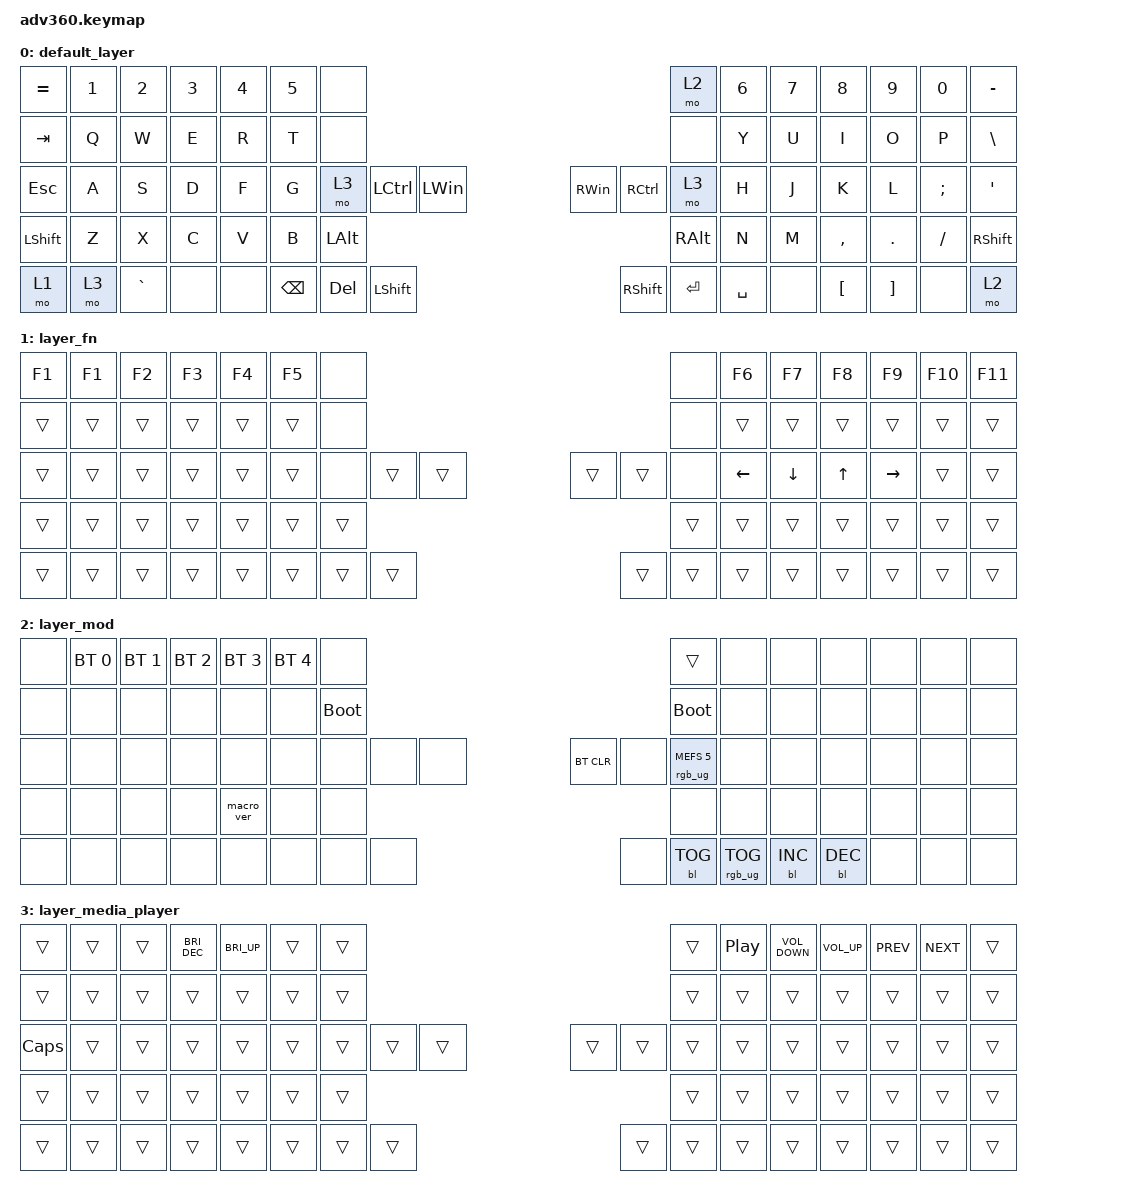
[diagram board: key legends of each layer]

/*
 * Copyright (c) 2020 The ZMK Contributors
 *
 * SPDX-License-Identifier: MIT
 */


/* THIS FILE WAS GENERATED!
 *
 * This file was generated automatically. You may or may not want to
 * edit it directly.
 */

#include <behaviors.dtsi>
#include <dt-bindings/zmk/keys.h>
#include <dt-bindings/zmk/bt.h>
#include <dt-bindings/zmk/rgb.h>
#include <dt-bindings/zmk/backlight.h>

/ {
  behaviors {
    #include "macros.dtsi"
    #include "version.dtsi"

    hm: homerow_mods {
        compatible = "zmk,behavior-hold-tap";
        label = "HOMEROW_MODS";
        #binding-cells = <2>;
        tapping-term-ms = <200>;
        quick_tap_ms = <175>;
        flavor = "tap-preferred";
        bindings = <&kp>, <&kp>;
    };
  };

    keymap {
        compatible = "zmk,keymap";


        default_layer {
            bindings = <
 &kp EQUAL  &kp N1     &kp N2  &kp N3  &kp N4  &kp N5               &none                                                                                    &mo 2  &kp N6  &kp N7            &kp N8    &kp N9    &kp N0  &kp MINUS
   &kp TAB   &kp Q      &kp W   &kp E   &kp R   &kp T               &none                                                                                    &none   &kp Y   &kp U             &kp I     &kp O     &kp P   &kp BSLH
   &kp ESC   &kp A      &kp S   &kp D   &kp F   &kp G               &mo 3  &kp LEFT_CONTROL    &kp LEFT_WIN                    &kp RIGHT_WIN  &kp RCTRL      &mo 3   &kp H   &kp J             &kp K     &kp L  &kp SEMI    &kp SQT
 &kp LSHFT   &kp Z      &kp X   &kp C   &kp V   &kp B                                          &kp LEFT_ALT                    &kp RIGHT_ALT                         &kp N   &kp M         &kp COMMA   &kp DOT  &kp FSLH  &kp RSHFT
     &mo 1   &mo 3  &kp GRAVE   &none   &none                    &kp BSPC           &kp DEL  &kp LEFT_SHIFT                  &kp RIGHT_SHIFT  &kp ENTER  &kp SPACE           &none  &kp LEFT_BRACKET  &kp RBKT     &none      &mo 2
            >;
        };

        layer_fn {
            bindings = <
 &kp F1  &kp F1  &kp F2  &kp F3  &kp F4  &kp F5             &none                                                   &none          &kp F6    &kp F7        &kp F8           &kp F9  &kp F10  &kp F11
 &trans  &trans  &trans  &trans  &trans  &trans             &none                                                   &none          &trans    &trans        &trans           &trans   &trans   &trans
 &trans  &trans  &trans  &trans  &trans  &trans             &none  &trans  &trans                  &trans  &trans   &none  &kp LEFT_ARROW  &kp DOWN  &kp UP_ARROW  &kp RIGHT_ARROW   &trans   &trans
 &trans  &trans  &trans  &trans  &trans  &trans                            &trans                  &trans                          &trans    &trans        &trans           &trans   &trans   &trans
 &trans  &trans  &trans  &trans  &trans                    &trans  &trans  &trans                  &trans  &trans  &trans                    &trans        &trans           &trans   &trans   &trans
            >;
        };

        layer_mod {
            bindings = <
  &none  &bt BT_SEL 0  &bt BT_SEL 1  &bt BT_SEL 2  &bt BT_SEL 3  &bt BT_SEL 4                  &none                                                                          &trans   &none       &none       &none   &none   &none   &none
  &none         &none         &none         &none         &none         &none            &bootloader                                                                     &bootloader   &none       &none       &none   &none   &none   &none
  &none         &none         &none         &none         &none         &none                  &none   &none   &none                  &bt BT_CLR       &none  &rgb_ug RGB_MEFS_CMD 5   &none       &none       &none   &none   &none   &none
  &none         &none         &none         &none    &macro_ver         &none                                  &none                       &none                                       &none       &none       &none   &none   &none   &none
  &none         &none         &none         &none         &none                                &none   &none   &none                       &none  &bl BL_TOG         &rgb_ug RGB_TOG          &bl BL_INC  &bl BL_DEC   &none   &none   &none
            >;
        };

        layer_media_player {
            bindings = <
   &trans  &trans  &trans  &kp C_BRIGHTNESS_DEC  &kp C_BRI_UP  &trans            &trans                                                  &trans  &kp C_PP  &kp C_VOLUME_DOWN  &kp C_VOL_UP  &kp C_PREV  &kp C_NEXT  &trans
   &trans  &trans  &trans                &trans        &trans  &trans            &trans                                                  &trans    &trans             &trans        &trans      &trans      &trans  &trans
 &kp CAPS  &trans  &trans                &trans        &trans  &trans            &trans  &trans  &trans                  &trans  &trans  &trans    &trans             &trans        &trans      &trans      &trans  &trans
   &trans  &trans  &trans                &trans        &trans  &trans                            &trans                  &trans                    &trans             &trans        &trans      &trans      &trans  &trans
   &trans  &trans  &trans                &trans        &trans                    &trans  &trans  &trans                  &trans  &trans  &trans                       &trans        &trans      &trans      &trans  &trans
            >;
        };

    };
};
